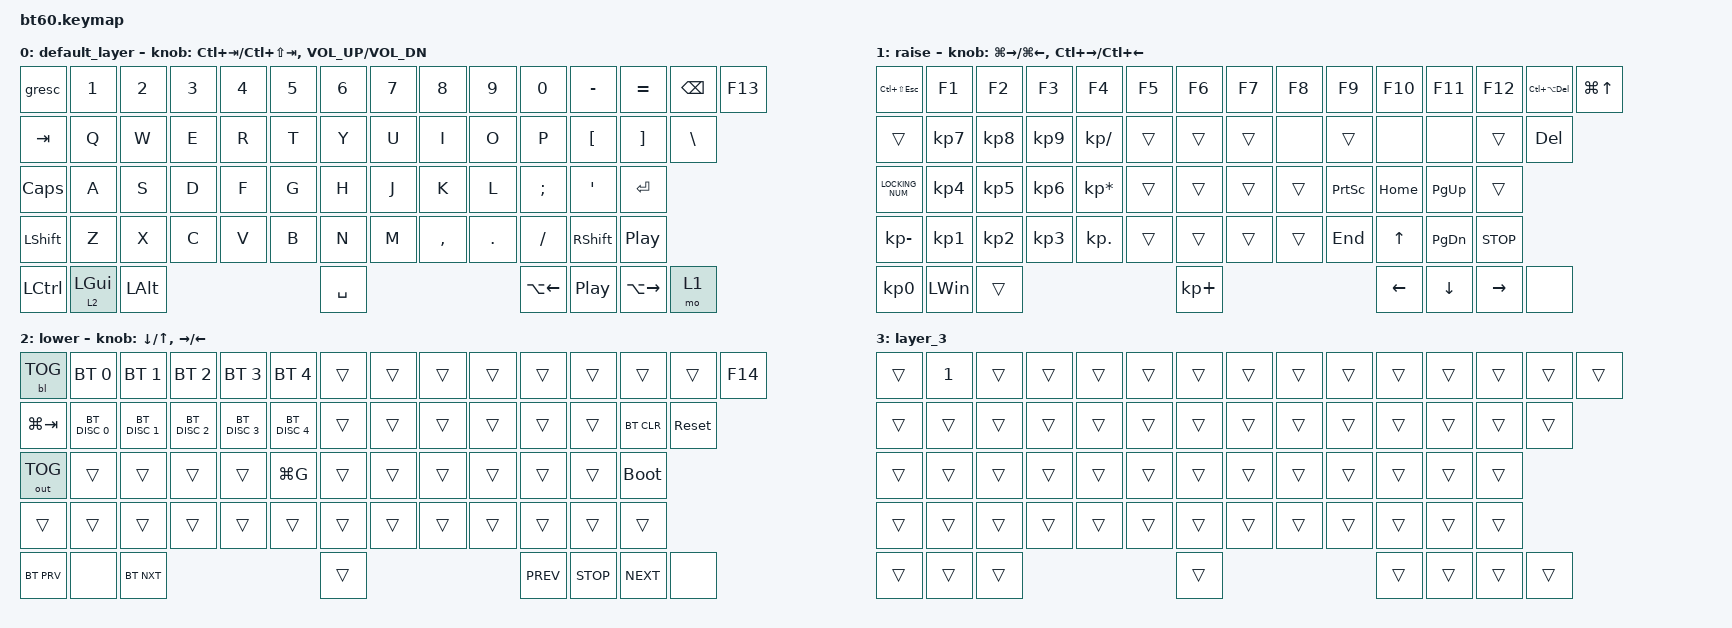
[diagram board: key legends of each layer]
#include <behaviors.dtsi>
#include <dt-bindings/zmk/backlight.h>
#include <dt-bindings/zmk/bt.h>
#include <dt-bindings/zmk/keys.h>
#include <dt-bindings/zmk/outputs.h>

/ {
    keymap {
        compatible = "zmk,keymap";

        default_layer {
            // ------------------------------------------------------------------------------------------
            // | ESC |  1  |  2  |  3  |  4  |  5  |  6  |  7  |  8  |  9  |  0  |  -  |  =  |BKSP | DEL |
            // | TAB  |  Q  |  W  |  E  |  R  |  T  |  Y  |  U  |  I  |  O  |  P  |  [  |  ]  |  |   |
            // | CAPS  |  A  |  S  |  D  |  F  |  G  |  H  |  J  |  K  |  L  |  ;  |  '  |     ENTER    |
            // |  SHIFT|NONE|  Z  |  X  |  C  |  V  |  B  |  N  |  M  |  ,  |  .  | /   | SHFT | UP | 1  |
            // |  CTL  |  WIN  |  ALT  |            SPACE              | ALT | CTRL | LEFT | DOWN | RIGHT |
            // ------------------------------------------------------------------------------------------

            bindings = <
&gresc     &kp N1          &kp N2    &kp N3  &kp N4  &kp N5  &kp N6     &kp N7  &kp N8  &kp N9     &kp N0        &kp MINUS         &kp EQUAL      &kp BACKSPACE  &kp F13
&kp TAB    &kp Q           &kp W     &kp E   &kp R   &kp T   &kp Y      &kp U   &kp I   &kp O      &kp P         &kp LBKT          &kp RBKT       &kp BSLH
&kp CLCK   &kp A           &kp S     &kp D   &kp F   &kp G   &kp H      &kp J   &kp K   &kp L      &kp SEMI      &kp SQT           &kp RET
&kp LSHFT  &kp Z           &kp X     &kp C   &kp V   &kp B   &kp N      &kp M   &kp COMMA  &kp DOT &kp FSLH      &kp RSHFT         &kp C_PLAY_PAUSE
&kp LCTRL  &lt 2 LEFT_GUI  &kp LALT                          &kp SPACE                             &kp LA(LEFT)  &kp C_PLAY_PAUSE  &kp LA(RIGHT)  &mo 1
            >;

            sensor-bindings =
                <&inc_dec_kp LC(TAB) LC(LS(TAB))>,
                <&inc_dec_kp C_VOL_UP C_VOL_DN>;
        };

        raise {
            bindings = <
&kp LC(LS(ESCAPE))  &kp F1           &kp F2           &kp F3           &kp F4           &kp F5      &kp F6       &kp F7  &kp F8  &kp F9           &kp F10   &kp F11       &kp F12        &kp LC(LA(DEL))  &kp LG(UP)
&trans              &kp KP_N7        &kp KP_NUMBER_8  &kp KP_NUMBER_9  &kp KP_DIVIDE    &trans      &trans       &trans  &none   &trans           &none     &none         &trans         &kp DEL
&kp LOCKING_NUM     &kp KP_NUMBER_4  &kp KP_NUMBER_5  &kp KP_NUMBER_6  &kp KP_MULTIPLY  &trans      &trans       &trans  &trans  &kp PRINTSCREEN  &kp HOME  &kp PG_UP     &trans
&kp KP_MINUS        &kp KP_NUMBER_1  &kp KP_NUMBER_2  &kp KP_NUMBER_3  &kp KP_DOT  &trans       &trans  &trans  &trans           &kp END   &kp UP_ARROW  &kp PAGE_DOWN                   &kp C_STOP
&kp KP_N0           &kp LEFT_WIN     &trans                                                         &kp KP_PLUS                                   &kp LEFT  &kp DOWN      &kp RIGHT      &none
            >;

            sensor-bindings =
                <&inc_dec_kp LG(RIGHT) LG(LEFT)>,
                <&inc_dec_kp LC(RIGHT) LC(LEFT_ARROW)>;
        };

        lower {
            bindings = <
&bl BL_TOG    &bt BT_SEL 0   &bt BT_SEL 1   &bt BT_SEL 2   &bt BT_SEL 3   &bt BT_SEL 4   &trans  &trans  &trans  &trans  &trans      &trans      &trans       &trans      &kp F14
&kp LG(TAB)   &bt BT_DISC 0  &bt BT_DISC 1  &bt BT_DISC 2  &bt BT_DISC 3  &bt BT_DISC 4  &trans  &trans  &trans  &trans  &trans      &trans      &bt BT_CLR   &sys_reset
&out OUT_TOG  &trans         &trans         &trans         &trans         &kp LG(G)      &trans  &trans  &trans  &trans  &trans      &trans      &bootloader
&trans        &trans         &trans         &trans         &trans         &trans  &trans  &trans  &trans  &trans      &trans      &trans                   &trans
&bt BT_PRV    &none          &bt BT_NXT                                                  &trans                          &kp C_PREV  &kp C_STOP  &kp C_NEXT   &none
            >;

            sensor-bindings = <&inc_dec_kp DOWN UP>, <&inc_dec_kp RIGHT LEFT>;
        };

        layer_3 {
            bindings = <
&trans  &kp NUMBER_1  &trans  &trans  &trans  &trans  &trans  &trans  &trans  &trans  &trans  &trans  &trans  &trans  &trans
&trans  &trans        &trans  &trans  &trans  &trans  &trans  &trans  &trans  &trans  &trans  &trans  &trans  &trans
&trans  &trans        &trans  &trans  &trans  &trans  &trans  &trans  &trans  &trans  &trans  &trans  &trans
&trans                &trans  &trans  &trans  &trans  &trans  &trans  &trans  &trans  &trans  &trans  &trans          &trans
&trans  &trans        &trans                          &trans                          &trans  &trans  &trans  &trans
            >;
        };
    };
};
